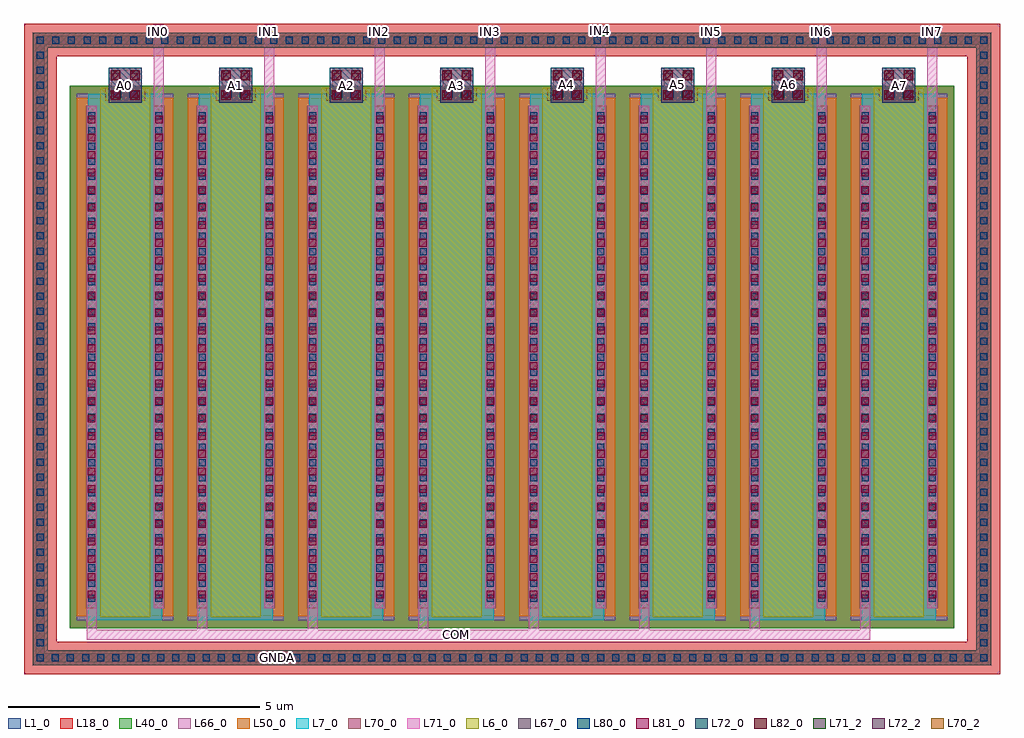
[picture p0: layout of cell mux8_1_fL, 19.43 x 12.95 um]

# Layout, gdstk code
import gdstk
lib = gdstk.Library(unit=1e-6, precision=1e-09)
def R(c, l, rs):  # rectangles x0, y0, x1, y1
    for r in rs: c.add(gdstk.rectangle(r[:2], r[2:], *l))
def A(c, l, x, y, w, h, nx, ny, dx, dy):  # array of equal rectangles
    R(c, l, [(x+i*dx, y+j*dy, x+i*dx+w, y+j*dy+h) for i in range(nx) for j in range(ny)])
L1_0 = (1, 0)
L6_0 = (6, 0)
L7_0 = (7, 0)
L18_0 = (18, 0)
L40_0 = (40, 0)
L50_0 = (50, 0)
L66_0 = (66, 0)
L67_0 = (67, 0)
L70_0 = (70, 0)
L70_2 = (70, 2)
L71_0 = (71, 0)
L71_2 = (71, 2)
L72_0 = (72, 0)
L72_2 = (72, 2)
L80_0 = (80, 0)
L81_0 = (81, 0)
L82_0 = (82, 0)

contact_cdns_78152741560 = lib.new_cell('Contact_CDNS_781527415601')
R(contact_cdns_78152741560, L1_0, [(0,-0.13,0.15,9.87)])
R(contact_cdns_78152741560, L70_0, [(0,-0.13,0.15,9.87)])
A(contact_cdns_78152741560, L80_0, 0.005, 0, 0.14, 0.14, 1, 33, 0, 0.3)

c_contact_cdns_78152741560 = lib.new_cell('Contact_CDNS_781527415602')
R(c_contact_cdns_78152741560, L70_0, [(0,-0.14,0.21,9.86)])
R(c_contact_cdns_78152741560, L71_0, [(0.005,-0.14,0.205,9.86)])
A(c_contact_cdns_78152741560, L81_0, 0.03, 0.06, 0.15, 0.15, 1, 28, 0, 0.35)

c_contact_cdns_78152741560_ = lib.new_cell('Contact_CDNS_781527415603')
R(c_contact_cdns_78152741560_, L6_0, [(-0.12,0,0.68,0.26)])
R(c_contact_cdns_78152741560_, L70_0, [(-0.12,0,0.68,0.26)])
R(c_contact_cdns_78152741560_, L80_0, [(0.06,0.06,0.2,0.2), (0.36,0.06,0.5,0.2)])

nmos1v2hvt_4_cdns_781527 = lib.new_cell('nmos1v2hvt_4_CDNS_781527415600')
R(nmos1v2hvt_4_cdns_781527, L1_0, [(-0.3,0,0,10), (-0.3,0,1.3,10), (0,0,1,10), (1,0,1.3,10)])
R(nmos1v2hvt_4_cdns_781527, L6_0, [(0,-0.18,1,0), (0,0,1,10), (0,10,1,10.18), (0,10.1,1,10.36), (0,10.1,1,10.36)])
R(nmos1v2hvt_4_cdns_781527, L7_0, [(-0.24,-0.24,1.24,10.24)])
R(nmos1v2hvt_4_cdns_781527, L18_0, [(-0.6,-0.4,1.6,10.4)])
R(nmos1v2hvt_4_cdns_781527, L40_0, [(-0.6,-0.4,1.6,10.4)])
R(nmos1v2hvt_4_cdns_781527, L50_0, [(-0.46,-0.16,1.46,10.16)])
R(nmos1v2hvt_4_cdns_781527, L66_0, [(-0.46,-0.24,1.46,10.24)])
R(nmos1v2hvt_4_cdns_781527, L70_0, [(-0.275,0,-0.065,10), (1.065,0,1.275,10), (0.1,10.1,0.9,10.36)])
R(nmos1v2hvt_4_cdns_781527, L71_0, [(-0.27,0,-0.07,10), (1.07,0,1.27,10)])
nmos1v2hvt_4_cdns_781527.add(gdstk.Reference(contact_cdns_78152741560, (1.095,0.13)))
nmos1v2hvt_4_cdns_781527.add(gdstk.Reference(contact_cdns_78152741560, (-0.245,0.13)))
nmos1v2hvt_4_cdns_781527.add(gdstk.Reference(c_contact_cdns_78152741560, (1.065,0.14)))
nmos1v2hvt_4_cdns_781527.add(gdstk.Reference(c_contact_cdns_78152741560, (-0.275,0.14)))
nmos1v2hvt_4_cdns_781527.add(gdstk.Reference(c_contact_cdns_78152741560_, (0.22,10.1)))

m1_m2_cdns_781527415600 = lib.new_cell('M1_M2_CDNS_781527415600')
R(m1_m2_cdns_781527415600, L70_0, [(-0.28,-0.31,0.28,0.31)])
R(m1_m2_cdns_781527415600, L71_0, [(-0.275,-0.31,0.275,0.31)])
R(m1_m2_cdns_781527415600, L81_0, [(-0.25,-0.25,-0.1,-0.1), (0.1,-0.25,0.25,-0.1), (-0.25,0.1,-0.1,0.25), (0.1,0.1,0.25,0.25)])

m2_m3_cdns_781527415601 = lib.new_cell('M2_M3_CDNS_781527415601')
R(m2_m3_cdns_781527415601, L71_0, [(-0.33,-0.35,0.33,0.35)])
R(m2_m3_cdns_781527415601, L72_0, [(-0.33,-0.35,0.33,0.35)])
R(m2_m3_cdns_781527415601, L82_0, [(-0.29,-0.29,-0.1,-0.1), (0.1,-0.29,0.29,-0.1), (-0.29,0.1,-0.1,0.29), (0.1,0.1,0.29,0.29)])

mux8_1_fl = lib.new_cell('mux8_1_fL')
R(mux8_1_fl, L70_2, [(4.945,0.225,5.145,0.425)])
R(mux8_1_fl, L71_2, [(8.52,0.69,8.72,0.89), (2.585,12.695,2.785,12.895), (4.785,12.695,4.985,12.895), (6.985,12.7,7.185,12.9), (17.985,12.7,18.185,12.9), (9.185,12.705,9.385,12.905), (13.585,12.705,13.785,12.905), (15.785,12.705,15.985,12.905), (11.385,12.71,11.585,12.91)])
R(mux8_1_fl, L72_2, [(6.315,11.625,6.515,11.825), (1.91,11.63,2.11,11.83), (4.12,11.63,4.32,11.83), (8.515,11.63,8.715,11.83), (17.32,11.63,17.52,11.83), (15.11,11.635,15.31,11.835), (10.705,11.64,10.905,11.84), (12.91,11.64,13.11,11.84)])
A(mux8_1_fl, L80_0, 0.255, 0.255, 0.14, 0.14, 27, 1, 0.3, 0)
A(mux8_1_fl, L80_0, 8.36, 0.255, 0.14, 0.14, 36, 1, 0.305, 0)
A(mux8_1_fl, L80_0, 0.255, 0.555, 0.14, 0.14, 1, 40, 0, 0.3)
A(mux8_1_fl, L80_0, 19.035, 0.555, 0.14, 0.14, 1, 40, 0, 0.3)
A(mux8_1_fl, L80_0, 0.255, 12.555, 0.14, 0.14, 19, 1, 0.31, 0)
A(mux8_1_fl, L80_0, 6.14, 12.555, 0.14, 0.14, 12, 1, 0.305, 0)
A(mux8_1_fl, L80_0, 9.795, 12.555, 0.14, 0.14, 19, 1, 0.31, 0)
A(mux8_1_fl, L80_0, 15.68, 12.555, 0.14, 0.14, 12, 1, 0.305, 0)
mux8_1_fl.add(gdstk.FlexPath([(9.715,12.625),(19.105,12.625),(19.105,0.325),(0.325,0.325),(0.325,12.625),(9.715,12.625)], 0.18, ends="flush", simple_path=True, layer=1, datatype=0))  # L1_0
mux8_1_fl.add(gdstk.FlexPath([(9.715,12.625),(19.105,12.625),(19.105,0.325),(0.325,0.325),(0.325,12.625),(9.715,12.625)], 0.29, ends="flush", simple_path=True, layer=70, datatype=0))  # L70_0
mux8_1_fl.add(gdstk.FlexPath([(9.715,12.625),(19.105,12.625),(19.105,0.325),(0.325,0.325),(0.325,12.625),(9.715,12.625)], 0.65, ends="flush", simple_path=True, layer=18, datatype=0))  # L18_0
mux8_1_fl.add(gdstk.FlexPath([(18.085,1.315),(18.085,12.9)], 0.2, ends="flush", simple_path=True, layer=71, datatype=0))  # L71_0
mux8_1_fl.add(gdstk.FlexPath([(15.885,1.315),(15.885,12.905)], 0.2, ends="flush", simple_path=True, layer=71, datatype=0))  # L71_0
mux8_1_fl.add(gdstk.FlexPath([(13.685,1.315),(13.685,12.905)], 0.2, ends="flush", simple_path=True, layer=71, datatype=0))  # L71_0
mux8_1_fl.add(gdstk.FlexPath([(11.485,1.315),(11.485,12.91)], 0.2, ends="flush", simple_path=True, layer=71, datatype=0))  # L71_0
mux8_1_fl.add(gdstk.FlexPath([(9.285,1.315),(9.285,12.905)], 0.2, ends="flush", simple_path=True, layer=71, datatype=0))  # L71_0
mux8_1_fl.add(gdstk.FlexPath([(7.085,1.315),(7.085,12.9)], 0.2, ends="flush", simple_path=True, layer=71, datatype=0))  # L71_0
mux8_1_fl.add(gdstk.FlexPath([(4.885,1.315),(4.885,12.895)], 0.2, ends="flush", simple_path=True, layer=71, datatype=0))  # L71_0
mux8_1_fl.add(gdstk.FlexPath([(2.685,1.315),(2.685,12.895)], 0.2, ends="flush", simple_path=True, layer=71, datatype=0))  # L71_0
mux8_1_fl.add(gdstk.FlexPath([(1.345,0.79),(3.545,0.79)], 0.2, ends="extended", simple_path=True, layer=71, datatype=0))  # L71_0
mux8_1_fl.add(gdstk.FlexPath([(3.545,11.315),(3.545,0.79)], 0.2, ends=(0, 0.1), simple_path=True, layer=71, datatype=0))  # L71_0
mux8_1_fl.add(gdstk.FlexPath([(3.545,0.79),(5.745,0.79)], 0.2, ends="extended", simple_path=True, layer=71, datatype=0))  # L71_0
mux8_1_fl.add(gdstk.FlexPath([(5.745,11.315),(5.745,0.79)], 0.2, ends=(0, 0.1), simple_path=True, layer=71, datatype=0))  # L71_0
mux8_1_fl.add(gdstk.FlexPath([(5.745,0.79),(7.945,0.79)], 0.2, ends="extended", simple_path=True, layer=71, datatype=0))  # L71_0
mux8_1_fl.add(gdstk.FlexPath([(7.945,11.315),(7.945,0.79)], 0.2, ends=(0, 0.1), simple_path=True, layer=71, datatype=0))  # L71_0
mux8_1_fl.add(gdstk.FlexPath([(7.945,0.79),(10.145,0.79)], 0.2, ends="extended", simple_path=True, layer=71, datatype=0))  # L71_0
mux8_1_fl.add(gdstk.FlexPath([(10.145,11.315),(10.145,0.79)], 0.2, ends=(0, 0.1), simple_path=True, layer=71, datatype=0))  # L71_0
mux8_1_fl.add(gdstk.FlexPath([(10.145,0.79),(12.345,0.79)], 0.2, ends="extended", simple_path=True, layer=71, datatype=0))  # L71_0
mux8_1_fl.add(gdstk.FlexPath([(12.345,11.315),(12.345,0.79)], 0.2, ends=(0, 0.1), simple_path=True, layer=71, datatype=0))  # L71_0
mux8_1_fl.add(gdstk.FlexPath([(12.345,0.79),(14.545,0.79)], 0.2, ends="extended", simple_path=True, layer=71, datatype=0))  # L71_0
mux8_1_fl.add(gdstk.FlexPath([(14.545,11.315),(14.545,0.79)], 0.2, ends=(0, 0.1), simple_path=True, layer=71, datatype=0))  # L71_0
mux8_1_fl.add(gdstk.FlexPath([(16.75,0.79),(16.75,11.315)], 0.2, ends=(0.1, 0), simple_path=True, layer=71, datatype=0))  # L71_0
mux8_1_fl.add(gdstk.FlexPath([(14.545,0.79),(16.75,0.79)], 0.2, ends="extended", simple_path=True, layer=71, datatype=0))  # L71_0
mux8_1_fl.add(gdstk.FlexPath([(1.345,11.315),(1.345,0.79)], 0.2, ends=(0, 0.1), simple_path=True, layer=71, datatype=0))  # L71_0
mux8_1_fl.add(gdstk.FlexPath([(9.715,12.625),(19.105,12.625),(19.105,0.325),(0.325,0.325),(0.325,12.625),(9.715,12.625)], 0.3, ends="flush", simple_path=True, layer=67, datatype=0))  # L67_0
mux8_1_fl.add(gdstk.Reference(nmos1v2hvt_4_cdns_781527, (12.515,1.315)))
mux8_1_fl.add(gdstk.Reference(nmos1v2hvt_4_cdns_781527, (10.315,1.315)))
mux8_1_fl.add(gdstk.Reference(nmos1v2hvt_4_cdns_781527, (16.915,1.315)))
mux8_1_fl.add(gdstk.Reference(nmos1v2hvt_4_cdns_781527, (14.715,1.315)))
mux8_1_fl.add(gdstk.Reference(nmos1v2hvt_4_cdns_781527, (3.715,1.315)))
mux8_1_fl.add(gdstk.Reference(nmos1v2hvt_4_cdns_781527, (1.515,1.315)))
mux8_1_fl.add(gdstk.Reference(nmos1v2hvt_4_cdns_781527, (8.115,1.315)))
mux8_1_fl.add(gdstk.Reference(nmos1v2hvt_4_cdns_781527, (5.915,1.315)))
mux8_1_fl.add(gdstk.Reference(m1_m2_cdns_781527415600, (17.415,11.725)))
mux8_1_fl.add(gdstk.Reference(m1_m2_cdns_781527415600, (15.215,11.725)))
mux8_1_fl.add(gdstk.Reference(m1_m2_cdns_781527415600, (13.015,11.725)))
mux8_1_fl.add(gdstk.Reference(m1_m2_cdns_781527415600, (10.815,11.725)))
mux8_1_fl.add(gdstk.Reference(m1_m2_cdns_781527415600, (8.615,11.725)))
mux8_1_fl.add(gdstk.Reference(m1_m2_cdns_781527415600, (6.415,11.725)))
mux8_1_fl.add(gdstk.Reference(m1_m2_cdns_781527415600, (4.215,11.725)))
mux8_1_fl.add(gdstk.Reference(m1_m2_cdns_781527415600, (17.415,11.725)))
mux8_1_fl.add(gdstk.Reference(m1_m2_cdns_781527415600, (15.215,11.725)))
mux8_1_fl.add(gdstk.Reference(m1_m2_cdns_781527415600, (13.015,11.725)))
mux8_1_fl.add(gdstk.Reference(m1_m2_cdns_781527415600, (10.815,11.725)))
mux8_1_fl.add(gdstk.Reference(m1_m2_cdns_781527415600, (8.615,11.725)))
mux8_1_fl.add(gdstk.Reference(m1_m2_cdns_781527415600, (6.415,11.725)))
mux8_1_fl.add(gdstk.Reference(m1_m2_cdns_781527415600, (4.215,11.725)))
mux8_1_fl.add(gdstk.Reference(m1_m2_cdns_781527415600, (2.015,11.725)))
mux8_1_fl.add(gdstk.Reference(m2_m3_cdns_781527415601, (17.415,11.725)))
mux8_1_fl.add(gdstk.Reference(m2_m3_cdns_781527415601, (15.215,11.725)))
mux8_1_fl.add(gdstk.Reference(m2_m3_cdns_781527415601, (13.015,11.725)))
mux8_1_fl.add(gdstk.Reference(m2_m3_cdns_781527415601, (10.815,11.725)))
mux8_1_fl.add(gdstk.Reference(m2_m3_cdns_781527415601, (8.615,11.725)))
mux8_1_fl.add(gdstk.Reference(m2_m3_cdns_781527415601, (6.415,11.725)))
mux8_1_fl.add(gdstk.Reference(m2_m3_cdns_781527415601, (4.215,11.725)))
mux8_1_fl.add(gdstk.Reference(m2_m3_cdns_781527415601, (2.015,11.725)))
mux8_1_fl.add(gdstk.Label('IN0', (2.685,12.795), layer=71, texttype=2))
mux8_1_fl.add(gdstk.Label('IN2', (7.085,12.8), layer=71, texttype=2))
mux8_1_fl.add(gdstk.Label('IN4', (11.485,12.81), layer=71, texttype=2))
mux8_1_fl.add(gdstk.Label('IN6', (15.885,12.805), layer=71, texttype=2))
mux8_1_fl.add(gdstk.Label('COM', (8.62,0.79), layer=71, texttype=2))
mux8_1_fl.add(gdstk.Label('IN1', (4.885,12.795), layer=71, texttype=2))
mux8_1_fl.add(gdstk.Label('IN3', (9.285,12.805), layer=71, texttype=2))
mux8_1_fl.add(gdstk.Label('IN5', (13.685,12.805), layer=71, texttype=2))
mux8_1_fl.add(gdstk.Label('IN7', (18.085,12.8), layer=71, texttype=2))
mux8_1_fl.add(gdstk.Label('GNDA', (5.045,0.325), layer=70, texttype=2))
mux8_1_fl.add(gdstk.Label('A6', (15.21,11.735), layer=72, texttype=2))
mux8_1_fl.add(gdstk.Label('A0', (2.01,11.73), layer=72, texttype=2))
mux8_1_fl.add(gdstk.Label('A1', (4.22,11.73), layer=72, texttype=2))
mux8_1_fl.add(gdstk.Label('A2', (6.415,11.725), layer=72, texttype=2))
mux8_1_fl.add(gdstk.Label('A3', (8.615,11.73), layer=72, texttype=2))
mux8_1_fl.add(gdstk.Label('A4', (10.805,11.74), layer=72, texttype=2))
mux8_1_fl.add(gdstk.Label('A5', (13.01,11.74), layer=72, texttype=2))
mux8_1_fl.add(gdstk.Label('A7', (17.42,11.73), layer=72, texttype=2))

lib.write_gds('mux8_1_fL.gds')
